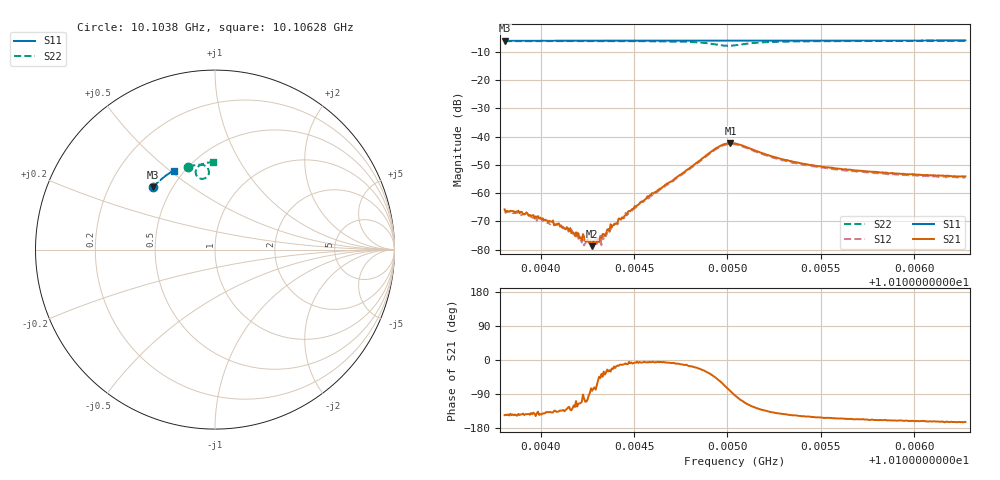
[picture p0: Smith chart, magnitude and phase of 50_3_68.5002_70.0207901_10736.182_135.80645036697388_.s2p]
#  HZ  S  RI  R  50.00
! Rohde & Schwarz Vector Network Analyzer
! Rohde-Schwarz,ZNB20-2Port,1311601062101988,3.16
! Created: UTC 3/20/2024, 4:50:48 PM
! freq[Hz]  re:S11  im:S11  re:S21  im:S21  re:S12  im:S12  re:S22  im:S22
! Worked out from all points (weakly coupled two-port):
!   401 points, 10.1038 GHz to 10.10628 GHz, reference 50 ohm
!   highest |S21| = -42.31 dB at 10.10502 GHz (marker M1); lowest = -78.7 dB at 10.10427 GHz (marker M2)
!   lowest |S11| = -6.2 dB at 10.1038 GHz (marker M3), VSWR 2.93, Z = 19.6 + j18 ohm
!   |S11| at or under -10 dB: nowhere
!   |S22| runs from -8.0 to -6.2 dB; largest |S21 - S12| = 0.00075
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1.0103805e10  -0.3465 0.3474  -0.000426 -0.000293  -0.000358 -0.000321  -0.1479 0.46
1.0103885e10  -0.3432 0.351  -0.000363 -0.000252  -0.000305 -0.000261  -0.1425 0.4619
1.0104095e10  -0.3343 0.3603  -0.000209 -0.000203  -0.000195 -0.000216  -0.1277 0.4665
1.0104182e10  -0.3307 0.3641  -9.93e-05 -0.000146  -6.34e-05 -0.000173  -0.1213 0.4681
1.0104219e10  -0.329 0.3657  -5.19e-05 -0.000137  -3.22e-05 -0.00013  -0.1185 0.4691
1.0104243e10  -0.328 0.3667  -4.74e-05 -0.000132  -1.28e-06 -0.000144  -0.1164 0.4694
1.0104274e10  -0.3265 0.368  1.7e-05 -0.000115  3.95e-05 -0.000132  -0.114 0.4699
1.0104299e10  -0.3255 0.3691  5.46e-05 -0.000127  5.13e-05 -0.000115  -0.1121 0.4704
1.0104336e10  -0.3239 0.3707  0.000163 -9.67e-05  0.000125 -9.31e-05  -0.1089 0.471
1.0104367e10  -0.3224 0.372  0.000192 -9.81e-05  0.000181 -9.84e-05  -0.1063 0.4714
1.0104392e10  -0.3214 0.373  0.000263 -8.16e-05  0.000272 -8.74e-05  -0.1042 0.4718
1.0104478e10  -0.3175 0.3765  0.000474 -6.91e-05  0.00045 -3.41e-05  -0.0961 0.473
1.0104534e10  -0.3151 0.3789  0.00069 -8.25e-05  0.000679 -3.12e-05  -0.0905 0.4734
1.0104633e10  -0.3104 0.3829  0.00116 -0.000115  0.00111 -5.48e-06  -0.0793 0.4734
1.0104935e10  -0.2962 0.3945  0.00425 -0.00441  0.00441 -0.00387  -0.0349 0.4225
1.0104978e10  -0.2942 0.3959  0.00312 -0.00656  0.00353 -0.00601  -0.0494 0.4012
1.0105016e10  -0.2926 0.3972  0.00104 -0.0076  0.00165 -0.00717  -0.0728 0.3943
1.010504e10  -0.2915 0.3981  -0.000453 -0.00751  0.000206 -0.00725  -0.0881 0.3983
1.0105244e10  -0.282 0.406  -0.0033 -0.00294  -0.00288 -0.00309  -0.0974 0.4587
1.0105454e10  -0.2719 0.4137  -0.00271 -0.00153  -0.00247 -0.0017  -0.0744 0.475
1.0105868e10  -0.2511 0.4279  -0.0021 -0.000786  -0.00196 -0.000923  -0.04 0.4845
1.0106276e10  -0.23 0.4406  -0.00189 -0.000558  -0.00175 -0.000679  -0.011 0.488
